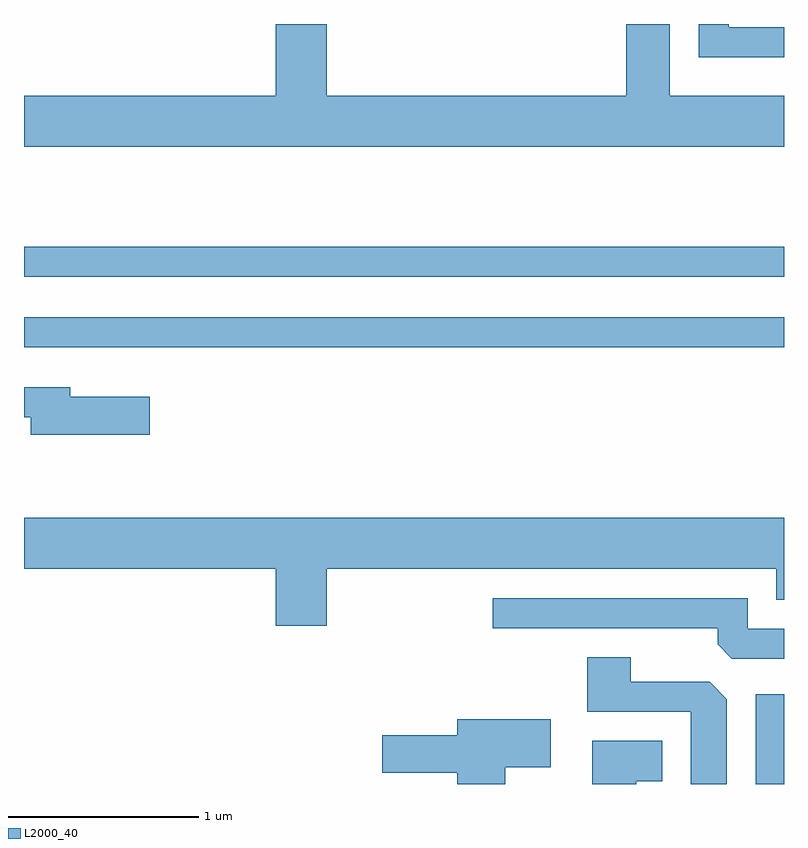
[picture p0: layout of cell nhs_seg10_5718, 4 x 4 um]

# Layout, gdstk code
import gdstk
lib = gdstk.Library(unit=1e-6, precision=1e-09)
def R(c, l, rs):  # rectangles x0, y0, x1, y1
    for r in rs: c.add(gdstk.rectangle(r[:2], r[2:], *l))
def P(c, l, *ps):  # polygons
    for p in ps: c.add(gdstk.Polygon(p, *l))
L2000_40 = (2000, 40)

nhs_seg10_5718 = lib.new_cell('nhs_seg10_5718')
R(nhs_seg10_5718, L2000_40, [(357.461,2150.522,357.611,2150.994), (353.611,2152.821,357.611,2152.979), (353.611,2153.191,357.611,2153.349)])
P(nhs_seg10_5718, L2000_40, [(357.611,2154.144),(357.009,2154.144),(357.009,2154.522),(356.781,2154.522),(356.781,2154.144),(355.204,2154.144),(355.204,2154.522),(354.936,2154.522),(354.936,2154.144),(353.611,2154.144),(353.611,2153.876),(357.611,2153.876)],
  [(357.611,2154.504),(357.319,2154.504),(357.319,2154.522),(357.161,2154.522),(357.161,2154.346),(357.611,2154.346)],
  [(354.274,2152.559),(353.854,2152.559),(353.854,2152.609),(353.611,2152.609),(353.611,2152.451),(353.646,2152.451),(353.646,2152.361),(354.274,2152.361)],
  [(355.204,2151.656),(357.571,2151.656),(357.571,2151.491),(357.611,2151.491),(357.611,2151.924),(353.611,2151.924),(353.611,2151.656),(354.936,2151.656),(354.936,2151.356),(355.204,2151.356)],
  [(357.611,2151.339),(357.419,2151.339),(357.419,2151.499),(356.078,2151.499),(356.078,2151.341),(357.261,2151.341),(357.261,2151.257),(357.337,2151.181),(357.611,2151.181)],
  [(357.309,2150.969),(357.219,2151.059),(356.804,2151.059),(356.804,2151.189),(356.576,2151.189),(356.576,2150.901),(357.121,2150.901),(357.121,2150.522),(357.309,2150.522)],
  [(356.144,2150.611),(356.384,2150.611),(356.384,2150.864),(355.891,2150.864),(355.891,2150.779),(355.496,2150.779),(355.496,2150.581),(355.891,2150.581),(355.891,2150.522),(356.144,2150.522)],
  [(356.834,2150.536),(356.969,2150.536),(356.969,2150.749),(356.601,2150.749),(356.601,2150.522),(356.834,2150.522)])

lib.write_gds('nhs_seg10_5718.gds')
